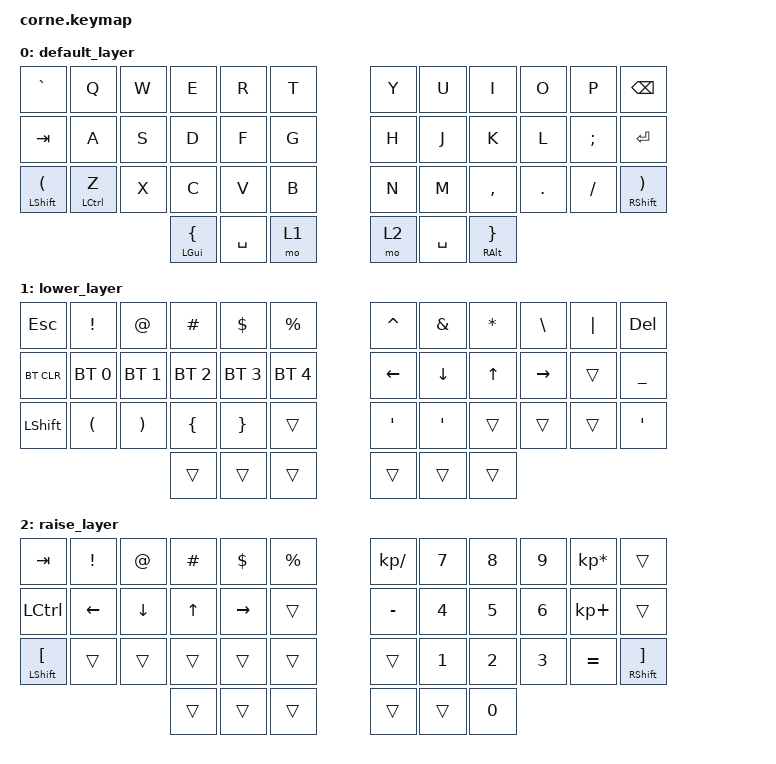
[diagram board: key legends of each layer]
/*
 * Copyright (c) 2020 The ZMK Contributors
 *
 * SPDX-License-Identifier: MIT
 */

#include <behaviors.dtsi>
#include <dt-bindings/zmk/keys.h>
#include <dt-bindings/zmk/bt.h>

/ {
        keymap {
                compatible = "zmk,keymap";

                default_layer {
// -----------------------------------------------------------------------------------------
// |  `        |  Q  |  W  |  E   |  R  |  T  |   |  Y  |  U   |  I  |  O  |  P  | BKSP  |
// | TAB       |  A  |  S  |  D   |  F  |  G  |   |  H  |  J   |  K  |  L  |  ;  | RET   |
// | SHFT      |  Z  |  X  |  C   |  V  |  B  |   |  N  |  M   |  ,  |  .  |  /  | RSHFT |
//                          | GUI | SPC | LWR |   | RSE | SPC  | ALT |
                        bindings = <
   &kp GRAVE       &kp Q         &kp W     &kp E &kp R &kp T     &kp Y         &kp U  &kp I     &kp O   &kp P    &kp BSPC
   &kp TAB         &kp A         &kp S     &kp D &kp F &kp G     &kp H         &kp J  &kp K     &kp L   &kp SEMI &kp RET
   &mt LSHFT LPAR  &mt LCTRL Z   &kp X     &kp C &kp V &kp B     &kp N         &kp M  &kp COMMA &kp DOT &kp FSLH &mt RSHFT RPAR
                   &mt LGUI LBRC &kp SPACE &mo 1 &mo 2 &kp SPACE &mt RALT RBRC
                        >;
                };
                lower_layer {
// -----------------------------------------------------------------------------------------
// |  ESC |  !  |  @  |  #  |  $  |  %  |   |  ^   |  &   |  *  |  \    | |  |  DEL  |
// | BTCLR| BT1 | BT2 | BT3 | BT4 | BT5 |   | left | down | up  | right |    |  _    |
// | SHFT |  (  |  )  |  {  |  }  |     |   |  [   |  ]   |     |       |    |  '    |
//                    |     |     |     |   |      |      |     |
                        bindings = <
   &kp ESC    &kp EXCL     &kp AT       &kp HASH     &kp DLLR     &kp PRCNT      &kp CARET  &kp AMPS &kp ASTRK &kp BSLH  &kp PIPE &kp DEL
   &bt BT_CLR &bt BT_SEL 0 &bt BT_SEL 1 &bt BT_SEL 2 &bt BT_SEL 3 &bt BT_SEL 4   &kp LEFT   &kp DOWN &kp UP    &kp RIGHT &trans   &kp UNDERSCORE
   &kp LSHFT  &kp LPAR     &kp RPAR     &kp LBRC     &kp RBRC     &trans         &kp SQT    &kp SQT  &trans    &trans    &trans   &kp SQT
                                        &trans       &trans       &trans         &trans     &trans   &trans
                        >;
                };

                raise_layer {
// -----------------------------------------------------------------------------------------
// |  TAB |  !   |  @   |  # |  $    |  %  |   |  /  |  7  |  8  |  9  |  *  |  |
// | CTRL | left | down | up | right |     |   |  -  |  4  |  5  |  6  |  +  |  |
// | SHFT |      |      |    |       |     |   |     |  1  |  2  |  3  | "l" |  |
//                      |    |       |     |   |     |     |  0  |
                        bindings = <
   &kp  TAB        &kp EXCL &kp AT   &kp HASH &kp DLLR  &kp PRCNT   &kp KP_SLASH &kp N7 &kp N8 &kp N9 &kp KP_MULTIPLY    &trans
   &kp LCTRL       &kp LEFT &kp DOWN &kp UP   &kp RIGHT &trans      &kp MINUS    &kp N4 &kp N5 &kp N6 &kp KP_PLUS        &trans
   &mt LSHFT LBKT  &trans   &trans   &trans   &trans    &trans      &trans       &kp N1 &kp N2 &kp N3 &kp EQUAL          &mt RSHFT RBKT
                                     &trans   &trans    &trans      &trans       &trans &kp N0
                        >;
                };
        };
};


